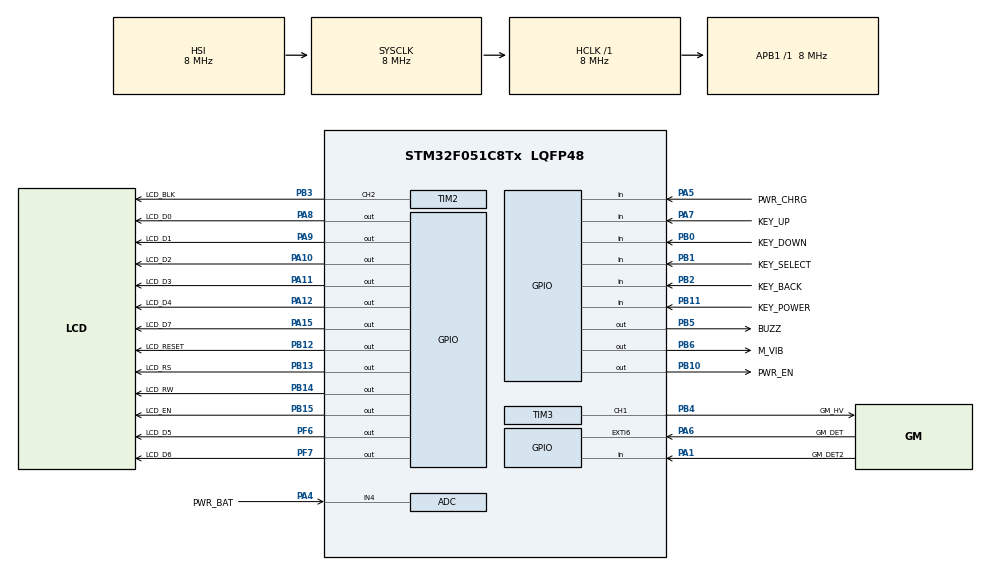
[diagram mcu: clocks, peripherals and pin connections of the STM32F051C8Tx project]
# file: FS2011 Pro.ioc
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ADC.ContinuousConvMode=DISABLE
ADC.ExternalTrigConv=ADC_SOFTWARE_START
ADC.SamplingTime=ADC_SAMPLETIME_239CYCLES_5
Mcu.Family=STM32F0
Mcu.Name=STM32F051C8Tx
Mcu.Package=LQFP48
NVIC.EXTI4_15_IRQn=true\:0\:0\:true\:false\:true\:true\:true\:true
NVIC.TIM6_DAC_IRQn=true\:1\:0\:true\:false\:true\:true\:true\:true
PA1.GPIO_Label=GM_DET2
PA1.GPIO_PuPd=GPIO_PULLUP
PA1.Signal=GPIO_Input
PA10.GPIO_Label=LCD_D2
PA10.GPIO_Speed=GPIO_SPEED_FREQ_HIGH
PA10.Signal=GPIO_Output
PA11.GPIO_Label=LCD_D3
PA11.GPIO_Speed=GPIO_SPEED_FREQ_HIGH
PA11.Signal=GPIO_Output
PA12.GPIO_Label=LCD_D4
PA12.GPIO_Speed=GPIO_SPEED_FREQ_HIGH
PA12.Signal=GPIO_Output
PA13.Mode=Serial_Wire
PA13.Signal=SYS_SWDIO
PA14.Mode=Serial_Wire
PA14.Signal=SYS_SWCLK
PA15.GPIO_Label=LCD_D7
PA15.GPIO_Speed=GPIO_SPEED_FREQ_HIGH
PA15.Signal=GPIO_Output
PA4.GPIO_Label=PWR_BAT
PA4.Mode=IN4
PA4.Signal=ADC_IN4
PA5.GPIO_Label=PWR_CHRG
PA5.GPIO_PuPd=GPIO_PULLUP
PA5.Signal=GPIO_Input
PA6.GPIO_Label=GM_DET
PA6.GPIO_ModeDefaultEXTI=GPIO_MODE_IT_FALLING
PA6.GPIO_PuPd=GPIO_PULLUP
PA6.Signal=GPXTI6
PA7.GPIO_Label=KEY_UP
PA7.GPIO_PuPd=GPIO_PULLUP
PA7.Signal=GPIO_Input
PA8.GPIO_Label=LCD_D0
PA8.GPIO_Speed=GPIO_SPEED_FREQ_HIGH
PA8.Signal=GPIO_Output
PA9.GPIO_Label=LCD_D1
PA9.GPIO_Speed=GPIO_SPEED_FREQ_HIGH
PA9.Signal=GPIO_Output
PB0.GPIO_Label=KEY_DOWN
PB0.GPIO_PuPd=GPIO_PULLUP
PB0.Signal=GPIO_Input
PB1.GPIO_Label=KEY_SELECT
PB1.GPIO_PuPd=GPIO_PULLUP
PB1.Signal=GPIO_Input
PB10.GPIO_Label=PWR_EN
PB10.GPIO_Speed=GPIO_SPEED_FREQ_HIGH
PB10.Signal=GPIO_Output
PB11.GPIO_Label=KEY_POWER
PB11.GPIO_PuPd=GPIO_PULLUP
PB11.Signal=GPIO_Input
PB12.GPIO_Label=LCD_RESET
PB12.GPIO_Speed=GPIO_SPEED_FREQ_HIGH
PB12.Signal=GPIO_Output
PB13.GPIO_Label=LCD_RS
PB13.GPIO_Speed=GPIO_SPEED_FREQ_HIGH
PB13.Signal=GPIO_Output
PB14.GPIO_Label=LCD_RW
PB14.GPIO_Speed=GPIO_SPEED_FREQ_HIGH
PB14.Signal=GPIO_Output
PB15.GPIO_Label=LCD_EN
PB15.GPIO_Speed=GPIO_SPEED_FREQ_HIGH
PB15.Signal=GPIO_Output
PB2.GPIO_Label=KEY_BACK
PB2.GPIO_PuPd=GPIO_PULLUP
PB2.Signal=GPIO_Input
PB3.GPIO_Label=LCD_BLK
PB3.GPIO_Speed=GPIO_SPEED_FREQ_HIGH
PB3.Signal=S_TIM2_CH2
PB4.GPIO_Label=GM_HV
PB4.GPIO_Speed=GPIO_SPEED_FREQ_HIGH
PB4.Signal=S_TIM3_CH1
PB5.GPIO_Label=BUZZ
PB5.GPIO_Speed=GPIO_SPEED_FREQ_HIGH
PB5.Signal=GPIO_Output
PB6.GPIO_Label=M_VIB
PB6.GPIO_Speed=GPIO_SPEED_FREQ_HIGH
PB6.Signal=GPIO_Output
PC14-OSC32_IN.Mode=LSE-External-Oscillator
PC14-OSC32_IN.Signal=RCC_OSC32_IN
PC15-OSC32_OUT.Mode=LSE-External-Oscillator
PC15-OSC32_OUT.Signal=RCC_OSC32_OUT
PF6.GPIO_Label=LCD_D5
PF6.GPIO_Speed=GPIO_SPEED_FREQ_HIGH
PF6.Signal=GPIO_Output
PF7.GPIO_Label=LCD_D6
PF7.GPIO_Speed=GPIO_SPEED_FREQ_HIGH
PF7.PinState=GPIO_PIN_RESET
PF7.Signal=GPIO_Output
ProjectManager.HeapSize=0x200
ProjectManager.StackSize=0x400
ProjectManager.TargetToolchain=STM32CubeIDE
RCC.AHBFreq_Value=8000000
RCC.APB1Freq_Value=8000000
RCC.APB1TimFreq_Value=8000000
RCC.HCLKFreq_Value=8000000
RCC.RTCClockSelection=RCC_RTCCLKSOURCE_LSE
RCC.SYSCLKFreq_VALUE=8000000
SH.S_TIM2_CH2.0=TIM2_CH2,PWM Generation2 CH2
SH.S_TIM3_CH1.0=TIM3_CH1,PWM Generation1 CH1
TIM2.Channel-PWM\ Generation2\ CH2=TIM_CHANNEL_2
TIM2.Period=999
TIM2.Pulse-PWM\ Generation2\ CH2=499
TIM3.Channel-PWM\ Generation1\ CH1=TIM_CHANNEL_1
TIM3.Period=105
TIM3.Pulse-PWM\ Generation1\ CH1=53
TIM3.TIM_MasterOutputTrigger=TIM_TRGO_RESET
TIM6.AutoReloadPreload=TIM_AUTORELOAD_PRELOAD_DISABLE
TIM6.Period=99
TIM6.Prescaler=79
VP_CRC_VS_CRC.Mode=CRC_Activate
VP_IWDG_VS_IWDG.Mode=IWDG_Activate
VP_TIM2_VS_ClockSourceINT.Mode=Internal
VP_TIM3_VS_ClockSourceINT.Mode=Internal
VP_TIM6_VS_ClockSourceINT.Mode=Enable_Timer
VP_TIM6_VS_OPM.Mode=OPM_bit
board=custom

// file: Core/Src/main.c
/* USER CODE BEGIN Header */
/**
 ******************************************************************************
 * @file           : main.c
 * @brief          : Main program body
 ******************************************************************************
 * @attention
 *
 * Copyright (c) 2022 STMicroelectronics.
 * All rights reserved.
 *
 * This software is licensed under terms that can be found in the LICENSE file
 * in the root directory of this software component.
 * If no LICENSE file comes with this software, it is provided AS-IS.
 *
 ******************************************************************************
 */
/* USER CODE END Header */
#include "main.h"

/* USER CODE BEGIN Includes */
#include "../fs2011pro/buzzer.h"
#include "../fs2011pro/display.h"
#include "../fs2011pro/events.h"
#include "../fs2011pro/game.h"
#include "../fs2011pro/keyboard.h"
#include "../fs2011pro/measurements.h"
#include "../fs2011pro/power.h"
#include "../fs2011pro/settings.h"
#include "../fs2011pro/sim.h"
#include "../fs2011pro/menus.h"
#include "../fs2011pro/ui.h"
/* USER CODE END Includes */

ADC_HandleTypeDef hadc;

CRC_HandleTypeDef hcrc;

IWDG_HandleTypeDef hiwdg;

TIM_HandleTypeDef htim2;
TIM_HandleTypeDef htim3;
TIM_HandleTypeDef htim6;

void SystemClock_Config(void);
static void MX_GPIO_Init(void);
static void MX_ADC_Init(void);
static void MX_TIM2_Init(void);
static void MX_TIM3_Init(void);
static void MX_TIM6_Init(void);
static void MX_CRC_Init(void);
static void MX_IWDG_Init(void);

/* USER CODE BEGIN 0 */
// int randomThreshold;

void HAL_IncTick(void)
{
    uwTick += uwTickFreq;

    // simPulses(10);
    // if ((rand() & 0xfff) < randomThreshold)
    //   triggerPulse();

    onEventsTick();
}

void HAL_GPIO_EXTI_Callback(uint16_t GPIO_Pin)
{
    triggerPulse();
}

void HAL_TIM_PeriodElapsedCallback(TIM_HandleTypeDef *htim)
{
    onBuzzerOff();
}

#define HARDFAULT_BIT_LENGTH 20000
void onHardFaultBit(int value)
{
    int onTime;
    int offTime;
    switch (value)
    {
    case 0:
        onTime = 100;
        offTime = HARDFAULT_BIT_LENGTH - 100;
        break;

    case 1:
        onTime = 1000;
        offTime = HARDFAULT_BIT_LENGTH - 1000;
        break;

    case 2:
        onTime = 0;
        offTime = 4 * HARDFAULT_BIT_LENGTH;
        break;

    default:
        onTime = 32 * HARDFAULT_BIT_LENGTH;
        offTime = 0;
        break;
    }

    HAL_GPIO_WritePin(BUZZ_GPIO_Port, BUZZ_Pin, GPIO_PIN_SET);
    for (int i = 0; i < onTime; i++)
        updateWatchdog();
    HAL_GPIO_WritePin(BUZZ_GPIO_Port, BUZZ_Pin, GPIO_PIN_RESET);
    for (int i = 0; i < offTime; i++)
        updateWatchdog();
}

// args: r0, r1, r2, r3, r12, lr, pc, psr
void onHardFault(uint32_t *args)
{
    onHardFaultBit(3);

    for (int i = 0; i < 8; i++)
    {
        onHardFaultBit(2);

        uint32_t value = args[i];
        for (int j = 0; j < 32; j++)
        {
            onHardFaultBit(value >> 31);
            value <<= 1;
        }
    }

    NVIC_SystemReset();
}

uint32_t const volatile validCRC __attribute__((section(".crc"))) = 0;

/* USER CODE END 0 */

int main(void)
{

    /* MCU Configuration--------------------------------------------------------*/

    /* Reset of all peripherals, Initializes the Flash interface and the Systick. */
    HAL_Init();

    /* Configure the system clock */
    SystemClock_Config();

    /* Initialize all configured peripherals */
    MX_GPIO_Init();
    MX_ADC_Init();
    MX_TIM2_Init();
    MX_TIM3_Init();
    MX_TIM6_Init();
    MX_CRC_Init();
    MX_IWDG_Init();
    /* USER CODE BEGIN 2 */
    __HAL_TIM_CLEAR_IT(&htim6, TIM_IT_UPDATE);
    __HAL_TIM_ENABLE_IT(&htim6, TIM_IT_UPDATE);

    initKeyboard();
    initPower();
    initDisplay();

    uint32_t crc = HAL_CRC_Calculate(&hcrc, (uint32_t *)FLASH_BASE, (uint32_t)(&validCRC) - FLASH_BASE);
    if (crc != validCRC)
    {
        drawSelfTestError(crc);
        updateDisplay();
        powerHalt();
    }

    readSettings();

    initEvents();
    initMeasurements();
    initMenus();

    /* USER CODE END 2 */

    /* Infinite loop */
    /* USER CODE BEGIN WHILE */
    while (1)
    {
        waitForInterrupt();

        updateGame();
        updateUI();
        /* USER CODE END WHILE */

    }
}

void SystemClock_Config(void)
{
    RCC_OscInitTypeDef RCC_OscInitStruct = {0};
    RCC_ClkInitTypeDef RCC_ClkInitStruct = {0};

    /** Initializes the RCC Oscillators according to the specified parameters
     * in the RCC_OscInitTypeDef structure.
     */
    RCC_OscInitStruct.OscillatorType = RCC_OSCILLATORTYPE_HSI | RCC_OSCILLATORTYPE_HSI14 | RCC_OSCILLATORTYPE_LSI;
    RCC_OscInitStruct.HSIState = RCC_HSI_ON;
    RCC_OscInitStruct.HSI14State = RCC_HSI14_ON;
    RCC_OscInitStruct.HSICalibrationValue = RCC_HSICALIBRATION_DEFAULT;
    RCC_OscInitStruct.HSI14CalibrationValue = 16;
    RCC_OscInitStruct.LSIState = RCC_LSI_ON;
    RCC_OscInitStruct.PLL.PLLState = RCC_PLL_NONE;
    if (HAL_RCC_OscConfig(&RCC_OscInitStruct) != HAL_OK)
    {
        Error_Handler();
    }

    /** Initializes the CPU, AHB and APB buses clocks
     */
    RCC_ClkInitStruct.ClockType = RCC_CLOCKTYPE_HCLK | RCC_CLOCKTYPE_SYSCLK | RCC_CLOCKTYPE_PCLK1;
    RCC_ClkInitStruct.SYSCLKSource = RCC_SYSCLKSOURCE_HSI;
    RCC_ClkInitStruct.AHBCLKDivider = RCC_SYSCLK_DIV1;
    RCC_ClkInitStruct.APB1CLKDivider = RCC_HCLK_DIV1;

    if (HAL_RCC_ClockConfig(&RCC_ClkInitStruct, FLASH_LATENCY_0) != HAL_OK)
    {
        Error_Handler();
    }
}

static void MX_ADC_Init(void)
{

    ADC_ChannelConfTypeDef sConfig = {0};

    /** Configure the global features of the ADC (Clock, Resolution, Data Alignment and number of conversion)
     */
    hadc.Instance = ADC1;
    hadc.Init.ClockPrescaler = ADC_CLOCK_ASYNC_DIV1;
    hadc.Init.Resolution = ADC_RESOLUTION_12B;
    hadc.Init.DataAlign = ADC_DATAALIGN_RIGHT;
    hadc.Init.ScanConvMode = ADC_SCAN_DIRECTION_FORWARD;
    hadc.Init.EOCSelection = ADC_EOC_SINGLE_CONV;
    hadc.Init.LowPowerAutoWait = DISABLE;
    hadc.Init.LowPowerAutoPowerOff = DISABLE;
    hadc.Init.ContinuousConvMode = DISABLE;
    hadc.Init.DiscontinuousConvMode = DISABLE;
    hadc.Init.ExternalTrigConv = ADC_SOFTWARE_START;
    hadc.Init.ExternalTrigConvEdge = ADC_EXTERNALTRIGCONVEDGE_NONE;
    hadc.Init.DMAContinuousRequests = DISABLE;
    hadc.Init.Overrun = ADC_OVR_DATA_PRESERVED;
    if (HAL_ADC_Init(&hadc) != HAL_OK)
    {
        Error_Handler();
    }

    /** Configure for the selected ADC regular channel to be converted.
     */
    sConfig.Channel = ADC_CHANNEL_4;
    sConfig.Rank = ADC_RANK_CHANNEL_NUMBER;
    sConfig.SamplingTime = ADC_SAMPLETIME_239CYCLES_5;
    if (HAL_ADC_ConfigChannel(&hadc, &sConfig) != HAL_OK)
    {
        Error_Handler();
    }
}

static void MX_CRC_Init(void)
{

    hcrc.Instance = CRC;
    hcrc.Init.DefaultInitValueUse = DEFAULT_INIT_VALUE_ENABLE;
    hcrc.Init.InputDataInversionMode = CRC_INPUTDATA_INVERSION_NONE;
    hcrc.Init.OutputDataInversionMode = CRC_OUTPUTDATA_INVERSION_DISABLE;
    hcrc.InputDataFormat = CRC_INPUTDATA_FORMAT_BYTES;
    if (HAL_CRC_Init(&hcrc) != HAL_OK)
    {
        Error_Handler();
    }
}

static void MX_IWDG_Init(void)
{

    hiwdg.Instance = IWDG;
    hiwdg.Init.Prescaler = IWDG_PRESCALER_4;
    hiwdg.Init.Window = 4095;
    hiwdg.Init.Reload = 4095;
    if (HAL_IWDG_Init(&hiwdg) != HAL_OK)
    {
        Error_Handler();
    }
}

static void MX_TIM2_Init(void)
{

    TIM_ClockConfigTypeDef sClockSourceConfig = {0};
    TIM_MasterConfigTypeDef sMasterConfig = {0};
    TIM_OC_InitTypeDef sConfigOC = {0};

    htim2.Instance = TIM2;
    htim2.Init.Prescaler = 0;
    htim2.Init.CounterMode = TIM_COUNTERMODE_UP;
    htim2.Init.Period = 999;
    htim2.Init.ClockDivision = TIM_CLOCKDIVISION_DIV1;
    htim2.Init.AutoReloadPreload = TIM_AUTORELOAD_PRELOAD_DISABLE;
    if (HAL_TIM_Base_Init(&htim2) != HAL_OK)
    {
        Error_Handler();
    }
    sClockSourceConfig.ClockSource = TIM_CLOCKSOURCE_INTERNAL;
    if (HAL_TIM_ConfigClockSource(&htim2, &sClockSourceConfig) != HAL_OK)
    {
        Error_Handler();
    }
    if (HAL_TIM_PWM_Init(&htim2) != HAL_OK)
    {
        Error_Handler();
    }
    sMasterConfig.MasterOutputTrigger = TIM_TRGO_RESET;
    sMasterConfig.MasterSlaveMode = TIM_MASTERSLAVEMODE_DISABLE;
    if (HAL_TIMEx_MasterConfigSynchronization(&htim2, &sMasterConfig) != HAL_OK)
    {
        Error_Handler();
    }
    sConfigOC.OCMode = TIM_OCMODE_PWM1;
    sConfigOC.Pulse = 499;
    sConfigOC.OCPolarity = TIM_OCPOLARITY_HIGH;
    sConfigOC.OCFastMode = TIM_OCFAST_DISABLE;
    if (HAL_TIM_PWM_ConfigChannel(&htim2, &sConfigOC, TIM_CHANNEL_2) != HAL_OK)
    {
        Error_Handler();
    }
    HAL_TIM_MspPostInit(&htim2);
}

static void MX_TIM3_Init(void)
{

    TIM_ClockConfigTypeDef sClockSourceConfig = {0};
    TIM_MasterConfigTypeDef sMasterConfig = {0};
    TIM_OC_InitTypeDef sConfigOC = {0};

    htim3.Instance = TIM3;
    htim3.Init.Prescaler = 0;
    htim3.Init.CounterMode = TIM_COUNTERMODE_UP;
    htim3.Init.Period = 105;
    htim3.Init.ClockDivision = TIM_CLOCKDIVISION_DIV1;
    htim3.Init.AutoReloadPreload = TIM_AUTORELOAD_PRELOAD_DISABLE;
    if (HAL_TIM_Base_Init(&htim3) != HAL_OK)
    {
        Error_Handler();
    }
    sClockSourceConfig.ClockSource = TIM_CLOCKSOURCE_INTERNAL;
    if (HAL_TIM_ConfigClockSource(&htim3, &sClockSourceConfig) != HAL_OK)
    {
        Error_Handler();
    }
    if (HAL_TIM_PWM_Init(&htim3) != HAL_OK)
    {
        Error_Handler();
    }
    sMasterConfig.MasterOutputTrigger = TIM_TRGO_RESET;
    sMasterConfig.MasterSlaveMode = TIM_MASTERSLAVEMODE_DISABLE;
    if (HAL_TIMEx_MasterConfigSynchronization(&htim3, &sMasterConfig) != HAL_OK)
    {
        Error_Handler();
    }
    sConfigOC.OCMode = TIM_OCMODE_PWM1;
    sConfigOC.Pulse = 53;
    sConfigOC.OCPolarity = TIM_OCPOLARITY_HIGH;
    sConfigOC.OCFastMode = TIM_OCFAST_DISABLE;
    if (HAL_TIM_PWM_ConfigChannel(&htim3, &sConfigOC, TIM_CHANNEL_1) != HAL_OK)
    {
        Error_Handler();
    }
    HAL_TIM_MspPostInit(&htim3);
}

static void MX_TIM6_Init(void)
{

    TIM_MasterConfigTypeDef sMasterConfig = {0};

    htim6.Instance = TIM6;
    htim6.Init.Prescaler = 79;
    htim6.Init.CounterMode = TIM_COUNTERMODE_UP;
    htim6.Init.Period = 99;
    htim6.Init.AutoReloadPreload = TIM_AUTORELOAD_PRELOAD_DISABLE;
    if (HAL_TIM_Base_Init(&htim6) != HAL_OK)
    {
        Error_Handler();
    }
    if (HAL_TIM_OnePulse_Init(&htim6, TIM_OPMODE_SINGLE) != HAL_OK)
    {
        Error_Handler();
    }
    sMasterConfig.MasterOutputTrigger = TIM_TRGO_RESET;
    sMasterConfig.MasterSlaveMode = TIM_MASTERSLAVEMODE_DISABLE;
    if (HAL_TIMEx_MasterConfigSynchronization(&htim6, &sMasterConfig) != HAL_OK)
    {
        Error_Handler();
    }
}

static void MX_GPIO_Init(void)
{
    GPIO_InitTypeDef GPIO_InitStruct = {0};

    /* GPIO Ports Clock Enable */
    __HAL_RCC_GPIOC_CLK_ENABLE();
    __HAL_RCC_GPIOA_CLK_ENABLE();
    __HAL_RCC_GPIOB_CLK_ENABLE();
    __HAL_RCC_GPIOF_CLK_ENABLE();

    /*Configure GPIO pin Output Level */
    HAL_GPIO_WritePin(GPIOB, PWR_EN_Pin | LCD_RESET_Pin | LCD_RS_Pin | LCD_RW_Pin | LCD_EN_Pin | BUZZ_Pin | M_VIB_Pin, GPIO_PIN_RESET);

    /*Configure GPIO pin Output Level */
    HAL_GPIO_WritePin(GPIOA, LCD_D0_Pin | LCD_D1_Pin | LCD_D2_Pin | LCD_D3_Pin | LCD_D4_Pin | LCD_D7_Pin, GPIO_PIN_RESET);

    /*Configure GPIO pin Output Level */
    HAL_GPIO_WritePin(GPIOF, LCD_D5_Pin | LCD_D6_Pin, GPIO_PIN_RESET);

    /*Configure GPIO pins : GM_DET2_Pin PWR_CHRG_Pin KEY_UP_Pin */
    GPIO_InitStruct.Pin = GM_DET2_Pin | PWR_CHRG_Pin | KEY_UP_Pin;
    GPIO_InitStruct.Mode = GPIO_MODE_INPUT;
    GPIO_InitStruct.Pull = GPIO_PULLUP;
    HAL_GPIO_Init(GPIOA, &GPIO_InitStruct);

    /*Configure GPIO pin : GM_DET_Pin */
    GPIO_InitStruct.Pin = GM_DET_Pin;
    GPIO_InitStruct.Mode = GPIO_MODE_IT_FALLING;
    GPIO_InitStruct.Pull = GPIO_PULLUP;
    HAL_GPIO_Init(GM_DET_GPIO_Port, &GPIO_InitStruct);

    /*Configure GPIO pins : KEY_DOWN_Pin KEY_SELECT_Pin KEY_BACK_Pin KEY_POWER_Pin */
    GPIO_InitStruct.Pin = KEY_DOWN_Pin | KEY_SELECT_Pin | KEY_BACK_Pin | KEY_POWER_Pin;
    GPIO_InitStruct.Mode = GPIO_MODE_INPUT;
    GPIO_InitStruct.Pull = GPIO_PULLUP;
    HAL_GPIO_Init(GPIOB, &GPIO_InitStruct);

    /*Configure GPIO pins : PWR_EN_Pin LCD_RESET_Pin LCD_RS_Pin LCD_RW_Pin
                             LCD_EN_Pin BUZZ_Pin M_VIB_Pin */
    GPIO_InitStruct.Pin = PWR_EN_Pin | LCD_RESET_Pin | LCD_RS_Pin | LCD_RW_Pin | LCD_EN_Pin | BUZZ_Pin | M_VIB_Pin;
    GPIO_InitStruct.Mode = GPIO_MODE_OUTPUT_PP;
    GPIO_InitStruct.Pull = GPIO_NOPULL;
    GPIO_InitStruct.Speed = GPIO_SPEED_FREQ_HIGH;
    HAL_GPIO_Init(GPIOB, &GPIO_InitStruct);

    /*Configure GPIO pins : LCD_D0_Pin LCD_D1_Pin LCD_D2_Pin LCD_D3_Pin
                             LCD_D4_Pin LCD_D7_Pin */
    GPIO_InitStruct.Pin = LCD_D0_Pin | LCD_D1_Pin | LCD_D2_Pin | LCD_D3_Pin | LCD_D4_Pin | LCD_D7_Pin;
    GPIO_InitStruct.Mode = GPIO_MODE_OUTPUT_PP;
    GPIO_InitStruct.Pull = GPIO_NOPULL;
    GPIO_InitStruct.Speed = GPIO_SPEED_FREQ_HIGH;
    HAL_GPIO_Init(GPIOA, &GPIO_InitStruct);

    /*Configure GPIO pins : LCD_D5_Pin LCD_D6_Pin */
    GPIO_InitStruct.Pin = LCD_D5_Pin | LCD_D6_Pin;
    GPIO_InitStruct.Mode = GPIO_MODE_OUTPUT_PP;
    GPIO_InitStruct.Pull = GPIO_NOPULL;
    GPIO_InitStruct.Speed = GPIO_SPEED_FREQ_HIGH;
    HAL_GPIO_Init(GPIOF, &GPIO_InitStruct);

    /* EXTI interrupt init*/
    HAL_NVIC_SetPriority(EXTI4_15_IRQn, 0, 0);
    HAL_NVIC_EnableIRQ(EXTI4_15_IRQn);

}

void Error_Handler(void)
{
    __disable_irq();
    while (1)
    {
    }
}
